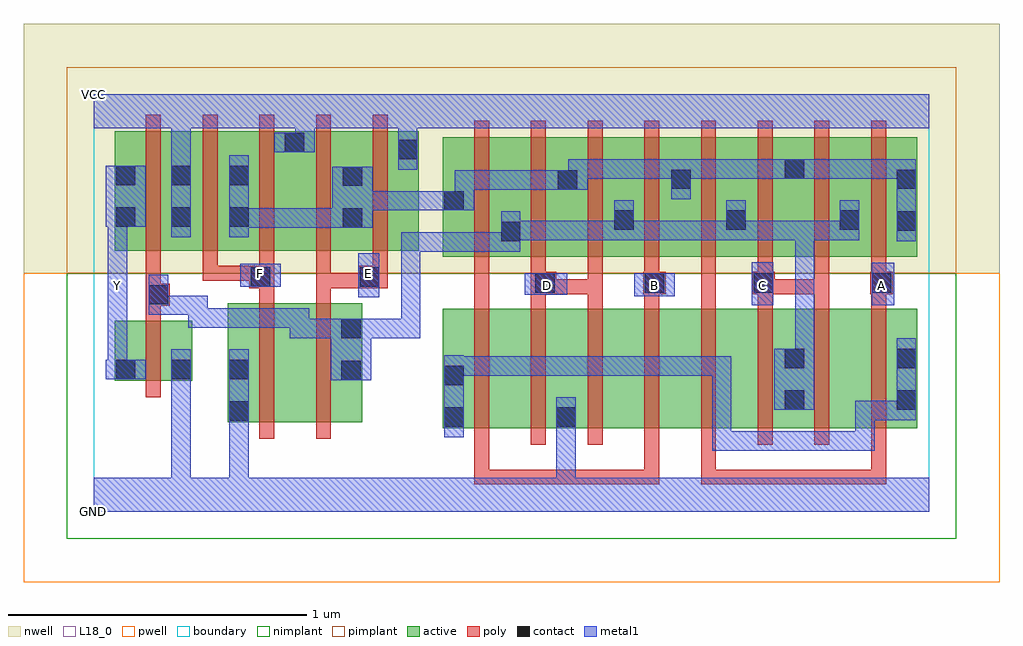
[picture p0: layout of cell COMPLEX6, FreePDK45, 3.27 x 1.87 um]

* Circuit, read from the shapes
.subckt COMPLEX6 A B C D E F GND VCC Y
M1 GND n1 Y VSUBS nfet w=0.2u l=0.05u
M2 n2 F GND VSUBS nfet w=0.4u l=0.05u
M3 n1 E n2 VSUBS nfet w=0.4u l=0.05u
M4 n3 B n4 VSUBS nfet w=0.4u l=0.05u
M5 GND D n3 VSUBS nfet w=0.4u l=0.05u
M6 n5 D GND VSUBS nfet w=0.4u l=0.05u
M7 n6 B n5 VSUBS nfet w=0.4u l=0.05u
M8 n7 A n6 VSUBS nfet w=0.4u l=0.05u
M9 n1 C n7 VSUBS nfet w=0.4u l=0.05u
M10 n8 C n1 VSUBS nfet w=0.4u l=0.05u
M11 n4 A n8 VSUBS nfet w=0.4u l=0.05u
M12 VCC n1 Y n9 pfet w=0.4u l=0.05u
M13 n10 F VCC n9 pfet w=0.4u l=0.05u m=2
M14 n10 E VCC n9 pfet w=0.4u l=0.05u m=2
M15 n1 B n10 n9 pfet w=0.4u l=0.05u m=2
M16 n10 D n1 n9 pfet w=0.4u l=0.05u m=2
M17 n1 A n10 n9 pfet w=0.4u l=0.05u m=2
M18 n10 C n1 n9 pfet w=0.4u l=0.05u m=2
.ends

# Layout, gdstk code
import gdstk
lib = gdstk.Library(unit=1e-6, precision=1e-09)
def R(c, l, rs):  # rectangles x0, y0, x1, y1
    for r in rs: c.add(gdstk.rectangle(r[:2], r[2:], *l))
def A(c, l, x, y, w, h, nx, ny, dx, dy):  # array of equal rectangles
    R(c, l, [(x+i*dx, y+j*dy, x+i*dx+w, y+j*dy+h) for i in range(nx) for j in range(ny)])
active = (1, 0)
pwell = (2, 0)
nwell = (3, 0)
nimplant = (4, 0)
pimplant = (5, 0)
poly = (9, 0)
contact = (10, 0)
metal1 = (11, 0)
L18_0 = (18, 0)
boundary = (235, 0)

complex6 = lib.new_cell('COMPLEX6')
A(complex6, active, 1.17, 0.855, 0.265, 0.4, 4, 1, 0.19, 0)
A(complex6, active, 0.07, 0.875, 0.26, 0.4, 3, 1, 0.38, 0)
R(complex6, active, [(1.17,0.28,1.395,0.68), (1.17,0.28,1.245,0.68), (1.395,0.28,1.62,0.68), (1.545,0.28,1.775,0.68), (1.545,0.28,1.62,0.617), (1.775,0.28,1.965,0.68), (1.965,0.28,2.155,0.68), (2.155,0.28,2.385,0.68), (2.31,0.28,2.535,0.68), (2.535,0.28,2.76,0.68), (0.45,0.3,0.675,0.7), (0.45,0.3,0.525,0.7), (0.675,0.3,0.9,0.7), (2.31,0.33,2.385,0.68), (2.685,0.332,2.76,0.68), (0.825,0.345,0.9,0.7), (0.07,0.44,0.145,0.64), (0.07,0.44,0.33,0.64), (0.255,0.44,0.33,0.64), (1.17,0.855,1.245,1.2), (1.36,0.855,1.435,1.07), (1.74,0.855,1.815,1.07), (1.93,0.855,2.005,1.2), (1.93,0.855,2.19,1.255), (2.115,0.855,2.19,1.07), (2.115,0.855,2.385,1.255), (2.31,0.855,2.57,1.255), (2.495,0.855,2.76,1.255), (2.495,0.855,2.57,1.07), (2.685,0.855,2.76,1.2), (0.07,0.875,0.145,1.2), (0.255,0.875,0.525,1.275), (0.635,0.875,0.905,1.275), (1.015,0.875,1.09,1.275), (0.255,0.907,0.33,1.255), (0.45,0.907,0.525,1.2), (0.635,0.907,0.71,1.275), (0.83,0.907,0.905,1.2), (1.55,0.907,1.625,1.2), (2.31,0.907,2.385,1.2)])
R(complex6, pwell, [(-0.235,-0.235,3.035,0.8)])
R(complex6, nwell, [(-0.235,0.8,3.035,1.635)])
R(complex6, nimplant, [(-0.09,-0.09,2.89,0.8)])
R(complex6, pimplant, [(-0.09,0.8,2.89,1.49)])
A(complex6, poly, 1.275, 0.225, 0.05, 0.51, 8, 2, 0.19, 0.575)
A(complex6, poly, 1.275, 0.685, 0.05, 0.095, 8, 1, 0.19, 0)
A(complex6, poly, 1.275, 0.73, 0.05, 0.12, 4, 1, 0.38, 0)
A(complex6, poly, 1.655, 0.73, 0.05, 0.05, 3, 1, 0.38, 0)
A(complex6, poly, 1.465, 0.755, 0.05, 0.095, 4, 1, 0.38, 0)
A(complex6, poly, 0.175, 0.82, 0.05, 0.51, 5, 1, 0.19, 0)
R(complex6, poly, [(1.275,0.092,1.325,0.275), (1.275,0.092,1.325,0.142), (1.275,0.092,1.572,0.142), (1.522,0.092,1.572,0.142), (1.522,0.092,1.572,0.142), (1.522,0.092,1.572,0.142), (1.522,0.092,1.705,0.142), (1.655,0.092,1.705,0.142), (1.655,0.092,1.705,0.142), (1.655,0.092,1.705,0.142), (1.655,0.092,1.895,0.142), (1.845,0.092,1.895,0.275), (1.845,0.092,1.895,0.142), (1.845,0.092,1.895,0.142), (1.845,0.092,1.895,0.142), (2.035,0.092,2.085,0.275), (2.035,0.092,2.085,0.142), (2.035,0.092,2.085,0.142), (2.035,0.092,2.085,0.142), (2.035,0.092,2.282,0.142), (2.232,0.092,2.282,0.142), (2.232,0.092,2.282,0.142), (2.232,0.092,2.282,0.142), (2.232,0.092,2.415,0.142), (2.365,0.092,2.415,0.142), (2.365,0.092,2.655,0.142), (2.605,0.092,2.655,0.275), (2.605,0.092,2.655,0.142), (2.605,0.092,2.655,0.142), (2.605,0.092,2.655,0.142), (0.555,0.245,0.605,0.755), (0.745,0.245,0.795,0.755), (0.175,0.385,0.225,0.695), (0.175,0.645,0.225,0.74), (0.175,0.69,0.255,0.765), (0.555,0.705,0.605,0.8), (0.745,0.705,0.795,0.8), (0.175,0.715,0.225,0.87), (1.275,0.73,1.325,0.78), (1.465,0.73,1.55,0.805), (1.5,0.73,1.705,0.78), (1.655,0.73,1.705,0.78), (1.655,0.73,1.705,0.78), (1.842,0.73,1.917,0.805), (2.207,0.73,2.282,0.805), (2.232,0.73,2.465,0.78), (2.415,0.73,2.465,0.78), (2.415,0.73,2.465,0.78), (2.602,0.73,2.677,0.805), (0.522,0.75,0.605,0.825), (0.745,0.75,0.795,0.8), (0.745,0.75,0.795,0.87), (0.745,0.75,0.937,0.8), (0.887,0.75,0.937,0.8), (0.887,0.75,0.937,0.8), (0.887,0.75,0.985,0.825), (0.365,0.775,0.415,0.87), (0.365,0.775,0.415,0.825), (0.365,0.775,0.572,0.825), (0.522,0.775,0.572,0.825), (0.522,0.775,0.572,0.825), (0.555,0.775,0.605,0.87), (0.935,0.775,0.985,0.87)])
R(complex6, contact, [(1.175,0.285,1.24,0.35), (1.55,0.285,1.615,0.35), (0.455,0.305,0.52,0.37), (2.315,0.342,2.38,0.407), (2.69,0.342,2.755,0.407), (1.175,0.425,1.24,0.49), (0.83,0.442,0.895,0.507), (0.075,0.445,0.14,0.51), (0.26,0.445,0.325,0.51), (0.455,0.445,0.52,0.51), (2.315,0.482,2.38,0.547), (2.69,0.482,2.755,0.547), (0.83,0.582,0.895,0.647), (0.185,0.695,0.25,0.76), (1.48,0.735,1.545,0.8), (1.847,0.735,1.912,0.8), (2.212,0.735,2.277,0.8), (2.607,0.735,2.672,0.8), (0.527,0.755,0.592,0.82), (0.892,0.755,0.957,0.82), (1.365,0.907,1.43,0.972), (2.69,0.942,2.755,1.007), (1.745,0.945,1.81,1.01), (2.12,0.945,2.185,1.01), (2.5,0.945,2.565,1.01), (0.835,0.952,0.9,1.017), (0.075,0.955,0.14,1.02), (0.26,0.955,0.325,1.02), (0.455,0.955,0.52,1.02), (1.175,1.01,1.24,1.075), (1.555,1.08,1.62,1.145), (1.935,1.082,2,1.147), (2.69,1.082,2.755,1.147), (0.835,1.092,0.9,1.157), (0.075,1.095,0.14,1.16), (0.26,1.095,0.325,1.16), (0.455,1.095,0.52,1.16), (2.315,1.117,2.38,1.182), (1.02,1.182,1.085,1.247), (0.64,1.205,0.705,1.27)])
R(complex6, metal1, [(0,0,2.8,0.115), (0.26,0.05,0.325,0.475), (0.455,0.05,0.52,0.335), (1.55,0.05,1.615,0.315), (2.072,0.205,2.137,0.27), (2.072,0.205,2.137,0.27), (2.072,0.205,2.137,0.27), (2.072,0.205,2.345,0.27), (2.072,0.205,2.137,0.522), (2.28,0.205,2.345,0.27), (2.28,0.205,2.415,0.27), (2.35,0.205,2.415,0.27), (2.35,0.205,2.617,0.27), (2.552,0.205,2.617,0.27), (2.552,0.205,2.617,0.372), (1.175,0.25,1.24,0.525), (1.55,0.25,1.615,0.315), (1.55,0.25,1.615,0.315), (1.55,0.25,1.615,0.315), (1.55,0.25,1.615,0.315), (1.55,0.25,1.615,0.385), (0.455,0.27,0.52,0.335), (0.455,0.27,0.52,0.335), (0.455,0.27,0.52,0.335), (0.455,0.27,0.52,0.335), (0.455,0.27,0.52,0.545), (2.552,0.307,2.617,0.372), (2.552,0.307,2.755,0.372), (2.69,0.307,2.755,0.372), (2.69,0.307,2.755,0.372), (2.69,0.307,2.755,0.582), (2.28,0.342,2.415,0.547), (0.26,0.41,0.325,0.475), (0.26,0.41,0.325,0.475), (0.26,0.41,0.325,0.475), (0.26,0.41,0.325,0.475), (0.26,0.41,0.325,0.475), (0.26,0.41,0.325,0.475), (0.26,0.41,0.325,0.475), (0.26,0.41,0.325,0.475), (0.26,0.41,0.325,0.545), (0.795,0.442,0.93,0.647), (0.04,0.445,0.175,0.51), (0.047,0.445,0.112,0.757), (1.175,0.457,1.275,0.522), (1.21,0.457,1.275,0.522), (1.21,0.457,1.447,0.522), (1.382,0.457,1.447,0.522), (1.382,0.457,1.447,0.522), (1.382,0.457,1.447,0.522), (1.382,0.457,1.655,0.522), (1.59,0.457,1.655,0.522), (1.59,0.457,1.655,0.522), (1.59,0.457,1.655,0.522), (1.59,0.457,1.792,0.522), (1.727,0.457,1.792,0.522), (1.727,0.457,1.792,0.522), (1.727,0.457,1.792,0.522), (1.727,0.457,1.947,0.522), (1.882,0.457,1.947,0.522), (1.882,0.457,1.947,0.522), (1.882,0.457,1.947,0.522), (1.882,0.457,2.137,0.522), (2.072,0.457,2.137,0.522), (2.35,0.482,2.415,0.975), (0.657,0.582,0.86,0.647), (0.657,0.582,0.722,0.677), (0.865,0.582,0.93,0.647), (0.865,0.582,0.93,0.647), (0.865,0.582,1.095,0.647), (1.03,0.582,1.095,0.647), (1.03,0.582,1.095,0.937), (0.657,0.612,0.722,0.677), (0.657,0.612,0.722,0.682), (0.317,0.617,0.382,0.682), (0.317,0.617,0.387,0.682), (0.317,0.617,0.382,0.725), (0.322,0.617,0.387,0.682), (0.322,0.617,0.532,0.682), (0.467,0.617,0.532,0.682), (0.467,0.617,0.532,0.682), (0.467,0.617,0.532,0.682), (0.467,0.617,0.722,0.682), (0.185,0.66,0.25,0.795), (0.185,0.66,0.382,0.725), (0.317,0.66,0.382,0.725), (0.047,0.692,0.112,0.827), (2.205,0.692,2.277,0.837), (2.607,0.692,2.682,0.835), (0.887,0.72,0.957,0.867), (1.812,0.722,1.947,0.8), (1.445,0.727,1.587,0.8), (0.492,0.755,0.627,0.832), (0.047,0.762,0.112,1.02), (1.03,0.872,1.095,0.937), (1.03,0.872,1.292,0.937), (1.227,0.872,1.292,0.937), (1.227,0.872,1.292,0.937), (1.227,0.872,1.292,0.937), (1.227,0.872,1.292,0.937), (1.227,0.872,1.292,0.937), (1.227,0.872,1.43,0.937), (1.365,0.872,1.43,1.007), (2.69,0.907,2.755,1.182), (1.365,0.91,1.43,0.975), (1.365,0.91,1.43,0.975), (1.365,0.91,1.585,0.975), (1.52,0.91,1.585,0.975), (1.52,0.91,1.585,0.975), (1.52,0.91,1.585,0.975), (1.52,0.91,1.81,0.975), (1.745,0.91,1.81,0.975), (1.745,0.91,1.81,0.975), (1.745,0.91,1.81,1.045), (1.745,0.91,1.947,0.975), (1.882,0.91,1.947,0.975), (1.882,0.91,1.947,0.975), (1.882,0.91,1.947,0.975), (1.882,0.91,2.185,0.975), (2.12,0.91,2.185,0.975), (2.12,0.91,2.185,0.975), (2.12,0.91,2.185,1.045), (2.12,0.91,2.415,0.975), (2.35,0.91,2.415,0.975), (2.35,0.91,2.415,0.975), (2.35,0.91,2.415,0.975), (2.35,0.91,2.415,0.975), (2.35,0.91,2.415,0.975), (2.35,0.91,2.565,0.975), (2.5,0.91,2.565,1.045), (0.26,0.92,0.325,1.195), (0.455,0.92,0.52,1.195), (0.455,0.952,0.585,1.017), (0.52,0.952,0.585,1.017), (0.52,0.952,0.722,1.017), (0.657,0.952,0.722,1.017), (0.657,0.952,0.722,1.017), (0.657,0.952,0.722,1.017), (0.657,0.952,0.865,1.017), (0.8,0.952,0.935,1.157), (0.04,0.955,0.175,1.16), (0.87,1.01,0.935,1.075), (0.87,1.01,0.935,1.075), (0.87,1.01,1.072,1.075), (1.007,1.01,1.072,1.075), (1.007,1.01,1.072,1.075), (1.007,1.01,1.072,1.075), (1.007,1.01,1.205,1.075), (1.14,1.01,1.275,1.075), (1.21,1.01,1.275,1.075), (1.21,1.01,1.275,1.145), (1.935,1.047,2,1.182), (1.21,1.08,1.447,1.145), (1.382,1.08,1.447,1.145), (1.382,1.08,1.447,1.145), (1.382,1.08,1.447,1.145), (1.382,1.08,1.585,1.145), (1.52,1.08,1.655,1.145), (1.59,1.08,1.655,1.145), (1.59,1.08,1.655,1.182), (1.59,1.117,1.81,1.182), (1.745,1.117,1.81,1.182), (1.745,1.117,1.81,1.182), (1.745,1.117,1.81,1.182), (1.745,1.117,2,1.182), (1.935,1.117,2,1.182), (1.935,1.117,2,1.182), (1.935,1.117,2.207,1.182), (2.142,1.117,2.207,1.182), (2.142,1.117,2.207,1.182), (2.142,1.117,2.207,1.182), (2.142,1.117,2.345,1.182), (2.28,1.117,2.415,1.182), (2.35,1.117,2.415,1.182), (2.35,1.117,2.415,1.182), (2.35,1.117,2.617,1.182), (2.552,1.117,2.617,1.182), (2.552,1.117,2.755,1.182), (2.69,1.117,2.755,1.182), (2.69,1.117,2.755,1.182), (0.26,1.13,0.325,1.35), (1.02,1.147,1.085,1.282), (0.605,1.205,0.74,1.27), (0.675,1.205,0.74,1.35), (1.02,1.217,1.085,1.35), (0,1.285,2.8,1.4)])
A(complex6, L18_0, 1.487, 0.727, 0.065, 0.065, 3, 1, 0.36, 0)
R(complex6, L18_0, [(0,0,2.8,0.115), (0.26,0.05,0.325,0.475), (0.455,0.05,0.52,0.335), (1.55,0.05,1.615,0.315), (1.55,0.25,1.615,0.385), (1.55,0.25,1.615,0.315), (1.55,0.25,1.615,0.315), (1.55,0.25,1.615,0.315), (1.55,0.25,1.615,0.315), (0.455,0.27,0.52,0.335), (0.455,0.27,0.52,0.335), (0.455,0.27,0.52,0.335), (0.455,0.27,0.52,0.335), (0.455,0.27,0.52,0.545), (0.26,0.41,0.325,0.545), (0.26,0.41,0.325,0.475), (0.26,0.41,0.325,0.475), (0.26,0.41,0.325,0.475), (0.26,0.41,0.325,0.475), (0.26,0.41,0.325,0.475), (0.26,0.41,0.325,0.475), (0.26,0.41,0.325,0.475), (0.26,0.41,0.325,0.475), (0.04,0.445,0.175,0.51), (0.047,0.445,0.112,0.757), (0.047,0.692,0.112,0.827), (2.205,0.692,2.277,0.837), (2.607,0.692,2.682,0.835), (0.887,0.72,0.957,0.867), (1.812,0.722,1.947,0.8), (0.047,0.727,0.112,0.792), (1.445,0.727,1.587,0.8), (2.607,0.727,2.672,0.792), (0.492,0.755,0.627,0.832), (0.047,0.762,0.112,1.02), (0.527,0.767,0.592,0.832), (0.887,0.767,0.952,0.832), (0.26,0.92,0.325,1.195), (0.04,0.955,0.175,1.16), (0.26,1.13,0.325,1.35), (1.02,1.147,1.085,1.282), (0.605,1.205,0.74,1.27), (0.675,1.205,0.74,1.35), (1.02,1.217,1.085,1.35), (0,1.285,2.8,1.4)])
R(complex6, boundary, [(0,0,2.8,1.4)])
complex6.add(gdstk.Label('A', (2.64,0.76), layer=11, texttype=0))
complex6.add(gdstk.Label('B', (1.88,0.76), layer=11, texttype=0))
complex6.add(gdstk.Label('C', (2.24,0.76), layer=11, texttype=0))
complex6.add(gdstk.Label('D', (1.52,0.76), layer=11, texttype=0))
complex6.add(gdstk.Label('E', (0.92,0.8), layer=11, texttype=0))
complex6.add(gdstk.Label('F', (0.56,0.8), layer=11, texttype=0))
complex6.add(gdstk.Label('Y', (0.08,0.76), layer=11, texttype=0))
complex6.add(gdstk.Label('VCC', (0,1.4), layer=11, texttype=0))
complex6.add(gdstk.Label('GND', (0,0), layer=11, texttype=0))

lib.write_gds('COMPLEX6.gds')
